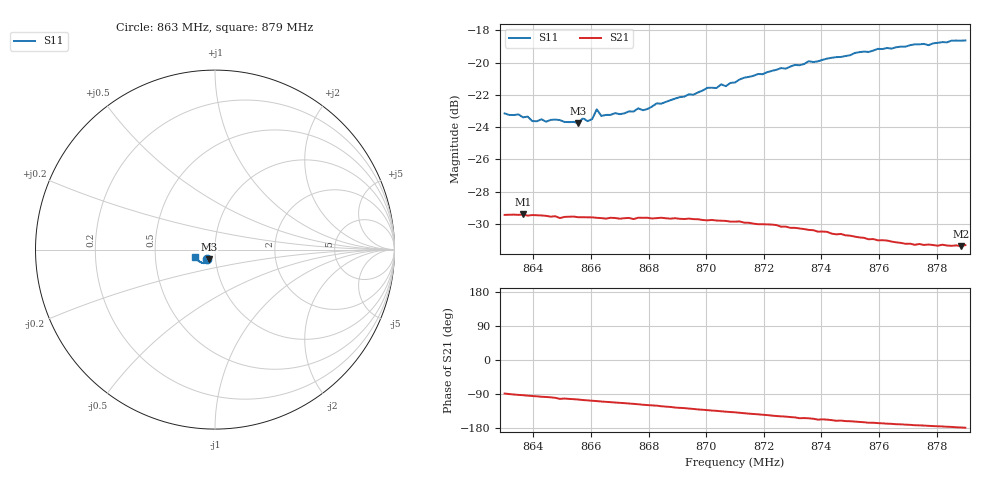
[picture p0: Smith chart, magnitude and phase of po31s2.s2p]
# HZ S RI R 50
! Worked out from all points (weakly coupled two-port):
!   101 points, 863 MHz to 879 MHz, reference 50 ohm
!   highest |S21| = -29.43 dB at 863.64 MHz (marker M1); lowest = -31.4 dB at 878.84 MHz (marker M2)
!   lowest |S11| = -23.8 dB at 865.56 MHz (marker M3), VSWR 1.14, Z = 46.3 - j5.08 ohm
!   |S11| at or under -10 dB: start of sweep to end of sweep
!   S12 and S22 are empty: the file has one direction only
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8.63e8  -0.0444 -0.0535  0.000907 -0.0337  0 0  0 0
8.6364e8  -0.0413 -0.0535  -0.00169 -0.0337  0 0  0 0
8.638e8  -0.0413 -0.054  -0.00239 -0.0334  0 0  0 0
8.6396e8  -0.0393 -0.0529  -0.00294 -0.0335  0 0  0 0
8.6476e8  -0.038 -0.0547  -0.00569 -0.0329  0 0  0 0
8.6556e8  -0.0351 -0.0546  -0.00821 -0.0321  0 0  0 0
8.6572e8  -0.0344 -0.0579  -0.00896 -0.0319  0 0  0 0
8.6588e8  -0.0341 -0.0563  -0.00942 -0.0317  0 0  0 0
8.6604e8  -0.0348 -0.057  -0.00992 -0.0316  0 0  0 0
8.662e8  -0.041 -0.0587  -0.0105 -0.0313  0 0  0 0
8.6636e8  -0.0356 -0.0583  -0.011 -0.031  0 0  0 0
8.6748e8  -0.0335 -0.062  -0.0142 -0.0294  0 0  0 0
8.6764e8  -0.0357 -0.0627  -0.0149 -0.0295  0 0  0 0
8.678e8  -0.0347 -0.0621  -0.0155 -0.0291  0 0  0 0
8.6844e8  -0.0358 -0.0654  -0.0175 -0.028  0 0  0 0
8.7004e8  -0.0422 -0.0721  -0.0218 -0.024  0 0  0 0
8.71e8  -0.0471 -0.0729  -0.0239 -0.0214  0 0  0 0
8.718e8  -0.0539 -0.0748  -0.0253 -0.0188  0 0  0 0
8.7372e8  -0.0672 -0.0746  -0.0274 -0.0127  0 0  0 0
8.7644e8  -0.0921 -0.061  -0.0273 -0.00556  0 0  0 0
8.7884e8  -0.1095 -0.0412  -0.0269 -0.000935  0 0  0 0
8.79e8  -0.1101 -0.0399  -0.0271 -0.000589  0 0  0 0
